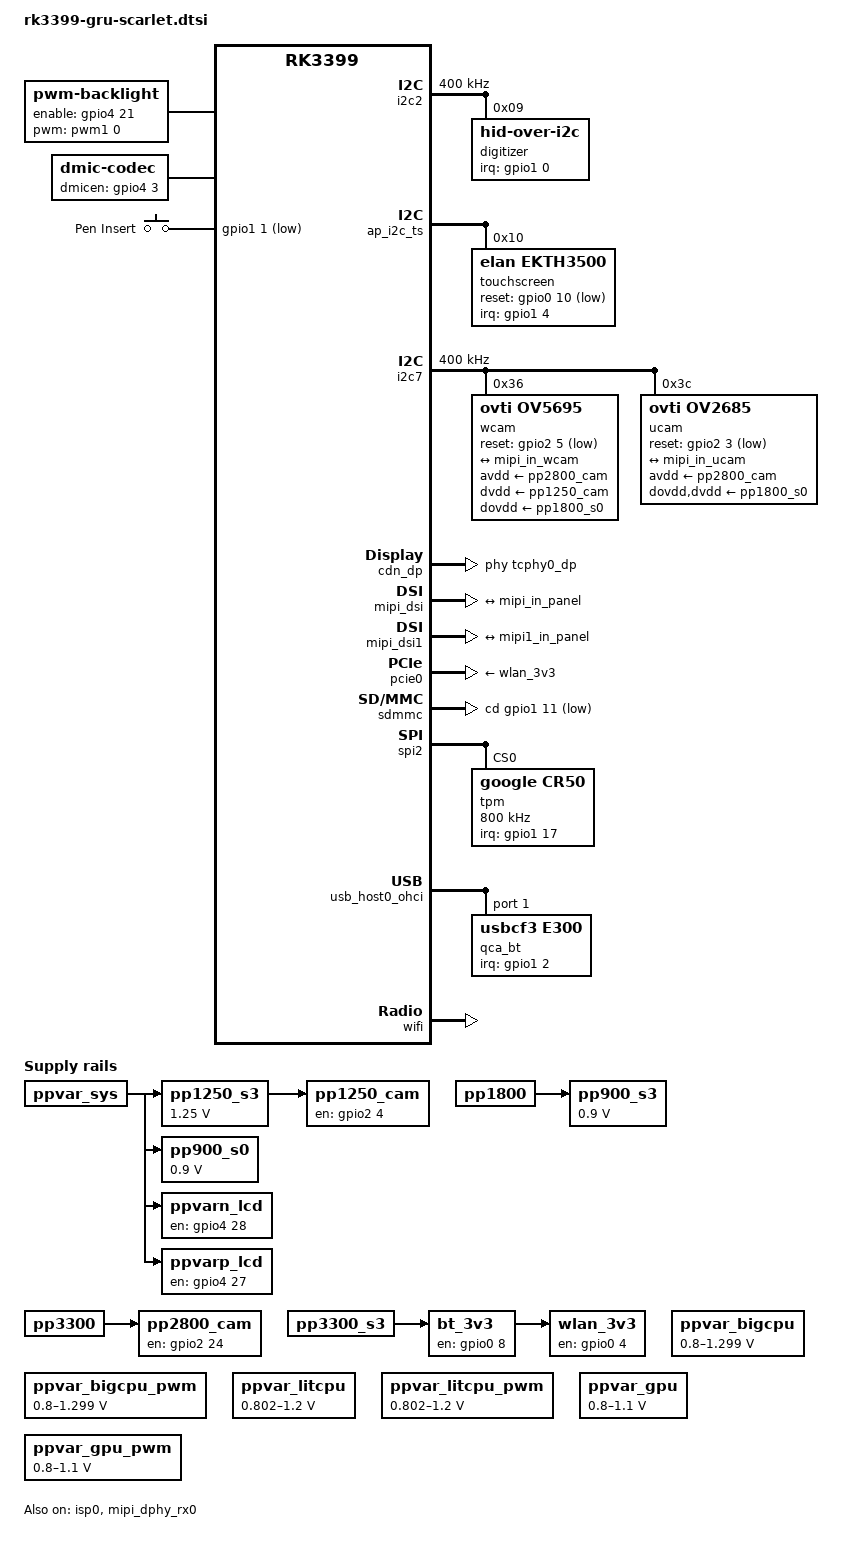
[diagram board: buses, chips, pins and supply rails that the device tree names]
// SPDX-License-Identifier: (GPL-2.0+ OR MIT)
/*
 * Google Gru-scarlet board device tree source
 *
 * Copyright 2018 Google, Inc
 */

#include "rk3399-gru.dtsi"

/{
	chassis-type = "tablet";

	/* Power tree */

	/* ppvar_sys children, sorted by name */
	pp1250_s3: pp1250-s3 {
		compatible = "regulator-fixed";
		regulator-name = "pp1250_s3";

		/* EC turns on w/ pp1250_s3_en; always on for AP */
		regulator-always-on;
		regulator-boot-on;
		regulator-min-microvolt = <1250000>;
		regulator-max-microvolt = <1250000>;

		vin-supply = <&ppvar_sys>;
	};

	pp1250_cam: pp1250-dvdd {
		compatible = "regulator-fixed";
		regulator-name = "pp1250_dvdd";
		pinctrl-names = "default";
		pinctrl-0 = <&pp1250_cam_en>;

		enable-active-high;
		gpio = <&gpio2 4 GPIO_ACTIVE_HIGH>;

		/* 740us delay from gpio output high to pp1250 stable,
		 * rounding up to 1ms for safety.
		 */
		startup-delay-us = <1000>;
		vin-supply = <&pp1250_s3>;
	};

	pp900_s0: pp900-s0 {
		compatible = "regulator-fixed";
		regulator-name = "pp900_s0";

		/* EC turns on w/ pp900_s0_en; always on for AP */
		regulator-always-on;
		regulator-boot-on;
		regulator-min-microvolt = <900000>;
		regulator-max-microvolt = <900000>;

		vin-supply = <&ppvar_sys>;
	};

	ppvarn_lcd: ppvarn-lcd {
		compatible = "regulator-fixed";
		regulator-name = "ppvarn_lcd";
		pinctrl-names = "default";
		pinctrl-0 = <&ppvarn_lcd_en>;

		enable-active-high;
		gpio = <&gpio4 28 GPIO_ACTIVE_HIGH>;
		vin-supply = <&ppvar_sys>;
	};

	ppvarp_lcd: ppvarp-lcd {
		compatible = "regulator-fixed";
		regulator-name = "ppvarp_lcd";
		pinctrl-names = "default";
		pinctrl-0 = <&ppvarp_lcd_en>;

		enable-active-high;
		gpio = <&gpio4 27 GPIO_ACTIVE_HIGH>;
		vin-supply = <&ppvar_sys>;
	};

	/* pp1800 children, sorted by name */
	pp900_s3: pp900-s3 {
		compatible = "regulator-fixed";
		regulator-name = "pp900_s3";

		/* EC turns on w/ pp900_s3_en; always on for AP */
		regulator-always-on;
		regulator-boot-on;
		regulator-min-microvolt = <900000>;
		regulator-max-microvolt = <900000>;

		vin-supply = <&pp1800>;
	};

	/* EC turns on pp1800_s3_en */
	pp1800_s3: pp1800 {
	};

	/* pp3300 children, sorted by name */
	pp2800_cam: pp2800-avdd {
		compatible = "regulator-fixed";
		regulator-name = "pp2800_avdd";
		pinctrl-names = "default";
		pinctrl-0 = <&pp2800_cam_en>;

		enable-active-high;
		gpio = <&gpio2 24 GPIO_ACTIVE_HIGH>;
		startup-delay-us = <100>;
		vin-supply = <&pp3300>;
	};

	/* EC turns on pp3300_s0_en */
	pp3300_s0: pp3300 {
	};

	/* EC turns on pp3300_s3_en */
	pp3300_s3: pp3300 {
	};

	/*
	 * See b/66922012
	 *
	 * This is a hack to make sure the Bluetooth part of the QCA6174A
	 * is reset at boot by toggling BT_EN. At boot BT_EN is first set
	 * to low when the bt_3v3 regulator is registered (in disabled
	 * state). The fake regulator is configured as a supply of the
	 * wlan_3v3 regulator below. When wlan_3v3 is enabled early in
	 * the boot process it also enables its supply regulator bt_3v3,
	 * which changes BT_EN to high.
	 */
	bt_3v3: bt-3v3 {
		compatible = "regulator-fixed";
		regulator-name = "bt_3v3";
		pinctrl-names = "default";
		pinctrl-0 = <&bt_en_1v8_l>;

		enable-active-high;
		gpio = <&gpio0 8 GPIO_ACTIVE_HIGH>;
		vin-supply = <&pp3300_s3>;
	};

	wlan_3v3: wlan-3v3 {
		compatible = "regulator-fixed";
		regulator-name = "wlan_3v3";
		pinctrl-names = "default";
		pinctrl-0 = <&wlan_pd_1v8_l>;

		/*
		 * The WL_EN pin is driven low when the regulator is
		 * registered, and transitions to high when the PCIe bus
		 * is powered up.
		 */
		enable-active-high;
		gpio = <&gpio0 4 GPIO_ACTIVE_HIGH>;

		/*
		 * Require minimum 10ms from power-on (e.g., PD#) to init PCIe.
		 * TODO (b/64444991): how long to assert PD#?
		 */
		regulator-enable-ramp-delay = <10000>;
		/* See bt_3v3 hack above */
		vin-supply = <&bt_3v3>;
	};

	backlight: backlight {
		compatible = "pwm-backlight";
		enable-gpios = <&gpio4 21 GPIO_ACTIVE_HIGH>;
		pinctrl-names = "default";
		pinctrl-0 = <&bl_en>;
		pwms = <&pwm1 0 1000000 0>;
	};

	dmic: dmic {
		compatible = "dmic-codec";
		dmicen-gpios = <&gpio4 3 GPIO_ACTIVE_HIGH>;
		pinctrl-names = "default";
		pinctrl-0 = <&dmic_en>;
		wakeup-delay-ms = <250>;
	};

	gpio_keys: gpio-keys {
		compatible = "gpio-keys";
		pinctrl-names = "default";
		pinctrl-0 = <&pen_eject_odl>;

		switch-pen-insert {
			label = "Pen Insert";
			/* Insert = low, eject = high */
			gpios = <&gpio1 1 GPIO_ACTIVE_LOW>;
			linux,code = <SW_PEN_INSERTED>;
			linux,input-type = <EV_SW>;
			wakeup-source;
		};
	};
};

/* pp900_s0 aliases */
pp900_ddrpll_ap: &pp900_s0 {
};
pp900_pcie: &pp900_s0 {
};
pp900_usb: &pp900_s0 {
};

/* pp900_s3 aliases */
pp900_emmcpll: &pp900_s3 {
};

/* EC turns on; alias for pp1800_s0 */
pp1800_pcie: &pp1800_s0 {
};

/* On scarlet PPVAR(big_cpu, lit_cpu, gpu) need to adjust voltage ranges */
&ppvar_bigcpu {
	ctrl-voltage-range = <800074 1299226>;
	regulator-min-microvolt = <800074>;
	regulator-max-microvolt = <1299226>;
};

&ppvar_bigcpu_pwm {
	/* On scarlet ppvar big cpu use pwm3 */
	pwms = <&pwm3 0 3337 0>;
	regulator-min-microvolt = <800074>;
	regulator-max-microvolt = <1299226>;
};

&ppvar_litcpu {
	ctrl-voltage-range = <802122 1199620>;
	regulator-min-microvolt = <802122>;
	regulator-max-microvolt = <1199620>;
};

&ppvar_litcpu_pwm {
	regulator-min-microvolt = <802122>;
	regulator-max-microvolt = <1199620>;
};

&ppvar_gpu {
	ctrl-voltage-range = <799600 1099600>;
	regulator-min-microvolt = <799600>;
	regulator-max-microvolt = <1099600>;
};

&ppvar_gpu_pwm {
	regulator-min-microvolt = <799600>;
	regulator-max-microvolt = <1099600>;
};

&ppvar_sd_card_io {
	states = <1800000 0x0>, <3300000 0x1>;
	regulator-max-microvolt = <3300000>;
};

&pp3000_sd_slot {
	vin-supply = <&pp3300>;
};

ap_i2c_dig: &i2c2 {
	status = "okay";

	clock-frequency = <400000>;

	/* These are relatively safe rise/fall times. */
	i2c-scl-falling-time-ns = <50>;
	i2c-scl-rising-time-ns = <300>;

	digitizer: digitizer@9 {
		compatible = "hid-over-i2c";
		reg = <0x9>;
		interrupt-parent = <&gpio1>;
		interrupts = <0 IRQ_TYPE_LEVEL_LOW>;
		hid-descr-addr = <0x1>;
		pinctrl-names = "default";
		pinctrl-0 = <&pen_int_odl &pen_reset_l>;
	};
};

&ap_i2c_ts {
	touchscreen: touchscreen@10 {
		compatible = "elan,ekth3500";
		reg = <0x10>;
		interrupt-parent = <&gpio1>;
		interrupts = <4 IRQ_TYPE_LEVEL_LOW>;
		pinctrl-names = "default";
		pinctrl-0 = <&touch_int_l &touch_reset_l>;
		reset-gpios = <&gpio0 10 GPIO_ACTIVE_LOW>;
	};
};

camera: &i2c7 {
	status = "okay";

	clock-frequency = <400000>;

	/* These are relatively safe rise/fall times; TODO: measure */
	i2c-scl-falling-time-ns = <50>;
	i2c-scl-rising-time-ns = <300>;

	/* 24M mclk is shared between world and user cameras */
	pinctrl-0 = <&i2c7_xfer &test_clkout1>;

	/* Rear-facing camera */
	wcam: camera@36 {
		compatible = "ovti,ov5695";
		reg = <0x36>;
		pinctrl-names = "default";
		pinctrl-0 = <&wcam_rst>;

		clocks = <&cru SCLK_TESTCLKOUT1>;
		clock-names = "xvclk";

		avdd-supply = <&pp2800_cam>;
		dvdd-supply = <&pp1250_cam>;
		dovdd-supply = <&pp1800_s0>;
		reset-gpios = <&gpio2 5 GPIO_ACTIVE_LOW>;

		port {
			wcam_out: endpoint {
				remote-endpoint = <&mipi_in_wcam>;
				data-lanes = <1 2>;
			};
		};
	};

	/* Front-facing camera */
	ucam: camera@3c {
		compatible = "ovti,ov2685";
		reg = <0x3c>;
		pinctrl-names = "default";
		pinctrl-0 = <&ucam_rst>;

		clocks = <&cru SCLK_TESTCLKOUT1>;
		clock-names = "xvclk";

		avdd-supply = <&pp2800_cam>;
		dovdd-supply = <&pp1800_s0>;
		dvdd-supply = <&pp1800_s0>;
		reset-gpios = <&gpio2 3 GPIO_ACTIVE_LOW>;

		port {
			ucam_out: endpoint {
				remote-endpoint = <&mipi_in_ucam>;
				data-lanes = <1>;
			};
		};
	};
};

&cdn_dp {
	extcon = <&usbc_extcon0>;
	phys = <&tcphy0_dp>;
};

&cpu_alert0 {
	temperature = <66000>;
};

&cpu_alert1 {
	temperature = <71000>;
};

&cros_ec {
	interrupt-parent = <&gpio1>;
	interrupts = <18 IRQ_TYPE_LEVEL_LOW>;
};

&cru {
	assigned-clocks =
		<&cru PLL_GPLL>, <&cru PLL_CPLL>,
		<&cru PLL_NPLL>,
		<&cru ACLK_PERIHP>, <&cru HCLK_PERIHP>,
		<&cru PCLK_PERIHP>,
		<&cru ACLK_PERILP0>, <&cru HCLK_PERILP0>,
		<&cru PCLK_PERILP0>, <&cru ACLK_CCI>,
		<&cru HCLK_PERILP1>, <&cru PCLK_PERILP1>,
		<&cru ACLK_VIO>,
		<&cru ACLK_GIC_PRE>,
		<&cru PCLK_DDR>,
		<&cru ACLK_HDCP>,
		<&cru ACLK_VDU>;
	assigned-clock-rates =
		<600000000>, <1600000000>,
		<1000000000>,
		<150000000>, <75000000>,
		<37500000>,
		<100000000>, <100000000>,
		<50000000>, <800000000>,
		<100000000>, <50000000>,
		<400000000>,
		<200000000>,
		<200000000>,
		<400000000>,
		<400000000>;
};

/* The center supply is fixed to .9V on scarlet */
&dmc {
	center-supply = <&pp900_s0>;
};

/* We don't need .925 V for 928 MHz on scarlet */
&dmc_opp_table {
	opp03 {
		opp-microvolt = <900000>;
	};
};

&gpio0 {
	gpio-line-names = /* GPIO0 A 0-7 */
			  "CLK_32K_AP",
			  "EC_IN_RW_OD",
			  "SPK_PA_EN",
			  "WLAN_PERST_1V8_L",
			  "WLAN_PD_1V8_L",
			  "WLAN_RF_KILL_1V8_L",
			  "BIGCPU_DVS_PWM",
			  "SD_CD_L_JTAG_EN",

			  /* GPIO0 B 0-5 */
			  "BT_EN_BT_RF_KILL_1V8_L",
			  "PMUIO2_33_18_L_PP3300_S0_EN",
			  "TOUCH_RESET_L",
			  "AP_EC_WARM_RESET_REQ",
			  "PEN_RESET_L",
			  /*
			   * AP_FLASH_WP_L is crossystem ABI. Schematics call
			   * it AP_FLASH_WP_R_ODL.
			   */
			  "AP_FLASH_WP_L";
};

&gpio1 {
	gpio-line-names = /* GPIO1 A 0-7 */
			  "PEN_INT_ODL",
			  "PEN_EJECT_ODL",
			  "BT_HOST_WAKE_1V8_L",
			  "WLAN_HOST_WAKE_1V8_L",
			  "TOUCH_INT_ODL",
			  "AP_EC_S3_S0_L",
			  "AP_EC_OVERTEMP",
			  "AP_SPI_FLASH_MISO",

			  /* GPIO1 B 0-7 */
			  "AP_SPI_FLASH_MOSI_R",
			  "AP_SPI_FLASH_CLK_R",
			  "AP_SPI_FLASH_CS_L_R",
			  "SD_CARD_DET_ODL",
			  "",
			  "AP_EXPANSION_IO1",
			  "AP_EXPANSION_IO2",
			  "AP_I2C_DISP_SDA",

			  /* GPIO1 C 0-7 */
			  "AP_I2C_DISP_SCL",
			  "H1_INT_ODL",
			  "EC_AP_INT_ODL",
			  "LITCPU_DVS_PWM",
			  "AP_I2C_AUDIO_SDA",
			  "AP_I2C_AUDIO_SCL",
			  "AP_EXPANSION_IO3",
			  "HEADSET_INT_ODL",

			  /* GPIO1 D0 */
			  "AP_EXPANSION_IO4";
};

&gpio2 {
	gpio-line-names = /* GPIO2 A 0-7 */
			  "AP_I2C_PEN_SDA",
			  "AP_I2C_PEN_SCL",
			  "SD_IO_PWR_EN",
			  "UCAM_RST_L",
			  "PP1250_CAM_EN",
			  "WCAM_RST_L",
			  "AP_EXPANSION_IO5",
			  "AP_I2C_CAM_SDA",

			  /* GPIO2 B 0-7 */
			  "AP_I2C_CAM_SCL",
			  "AP_H1_SPI_MISO",
			  "AP_H1_SPI_MOSI",
			  "AP_H1_SPI_CLK",
			  "AP_H1_SPI_CS_L",
			  "",
			  "",
			  "",

			  /* GPIO2 C 0-7 */
			  "UART_EXPANSION_TX_AP_RX",
			  "UART_AP_TX_EXPANSION_RX",
			  "UART_EXPANSION_RTS_AP_CTS",
			  "UART_AP_RTS_EXPANSION_CTS",
			  "AP_SPI_EC_MISO",
			  "AP_SPI_EC_MOSI",
			  "AP_SPI_EC_CLK",
			  "AP_SPI_EC_CS_L",

			  /* GPIO2 D 0-4 */
			  "PP2800_CAM_EN",
			  "CLK_24M_CAM",
			  "WLAN_PCIE_CLKREQ_1V8_L",
			  "",
			  "SD_PWR_3000_1800_L";
};

&gpio3 {
	gpio-line-names = /* GPIO3 A 0-7 */
			  "",
			  "",
			  "",
			  "",
			  "",
			  "",
			  "",
			  "",

			  /* GPIO3 B 0-7 */
			  "",
			  "",
			  "",
			  "",
			  "",
			  "",
			  "",
			  "",

			  /* GPIO3 C 0-7 */
			  "",
			  "",
			  "",
			  "",
			  "",
			  "",
			  "",
			  "",

			  /* GPIO3 D 0-7 */
			  "I2S0_SCLK",
			  "I2S0_LRCK_RX",
			  "I2S0_LRCK_TX",
			  "I2S0_SDI_0",
			  "STRAP_LCDBIAS_L",
			  "STRAP_FEATURE_1",
			  "STRAP_FEATURE_2",
			  "I2S0_SDO_0";
};

&gpio4 {
	gpio-line-names = /* GPIO4 A 0-7 */
			  "I2S_MCLK",
			  "AP_I2C_EXPANSION_SDA",
			  "AP_I2C_EXPANSION_SCL",
			  "DMIC_EN",
			  "",
			  "",
			  "",
			  "",

			  /* GPIO4 B 0-7 */
			  "",
			  "",
			  "",
			  "",
			  "",
			  "",
			  "",
			  "",

			  /* GPIO4 C 0-7 */
			  "AP_I2C_TS_SDA",
			  "AP_I2C_TS_SCL",
			  "GPU_DVS_PWM",
			  "UART_DBG_TX_AP_RX",
			  "UART_AP_TX_DBG_RX",
			  "BL_EN",
			  "BL_PWM",
			  "",

			  /* GPIO4 D 0-5 */
			  "",
			  "DISPLAY_RST_L",
			  "",
			  "PPVARP_LCD_EN",
			  "PPVARN_LCD_EN",
			  "SD_SLOT_PWR_EN";
};

&i2c_tunnel {
	google,remote-bus = <0>;
};

&io_domains {
	bt656-supply = <&pp1800_s0>;		/* APIO2_VDD;  2a 2b */
	audio-supply = <&pp1800_s0>;		/* APIO5_VDD;  3d 4a */
	gpio1830-supply = <&pp1800_s0>;		/* APIO4_VDD;  4c 4d */
};

&isp0 {
	status = "okay";

	ports {
		port@0 {
			mipi_in_wcam: endpoint@0 {
				reg = <0>;
				remote-endpoint = <&wcam_out>;
				data-lanes = <1 2>;
			};

			mipi_in_ucam: endpoint@1 {
				reg = <1>;
				remote-endpoint = <&ucam_out>;
				data-lanes = <1>;
			};
		};
	};
};

&isp0_mmu {
	status = "okay";
};

&max98357a {
	sdmode-gpios = <&gpio0 2 GPIO_ACTIVE_HIGH>;
};

&mipi_dphy_rx0 {
	status = "okay";
};

&mipi_dsi {
	status = "okay";
	clock-master;

	ports {
		mipi_out: port@1 {
			reg = <1>;

			mipi_out_panel: endpoint {
				remote-endpoint = <&mipi_in_panel>;
			};
		};
	};

	mipi_panel: panel@0 {
		/* 2 different panels are used, compatibles are in dts files */
		reg = <0>;
		backlight = <&backlight>;
		enable-gpios = <&gpio4 25 GPIO_ACTIVE_HIGH>;
		pinctrl-names = "default";
		pinctrl-0 = <&display_rst_l>;

		ports {
			#address-cells = <1>;
			#size-cells = <0>;

			port@0 {
				reg = <0>;

				mipi_in_panel: endpoint {
					remote-endpoint = <&mipi_out_panel>;
				};
			};

			port@1 {
				reg = <1>;

				mipi1_in_panel: endpoint@1 {
					remote-endpoint = <&mipi1_out_panel>;
				};
			};
		};
	};
};

&mipi_dsi1 {
	status = "okay";

	ports {
		mipi1_out: port@1 {
			reg = <1>;

			mipi1_out_panel: endpoint {
				remote-endpoint = <&mipi1_in_panel>;
			};
		};
	};
};

&pcie0 {
	ep-gpios = <&gpio0 3 GPIO_ACTIVE_HIGH>;

	/* PERST# asserted in S3 */
	pcie-reset-suspend = <1>;

	vpcie3v3-supply = <&wlan_3v3>;
	vpcie1v8-supply = <&pp1800_pcie>;
};

&sdmmc {
	cd-gpios = <&gpio1 11 GPIO_ACTIVE_LOW>;
};

&sound {
	rockchip,codec = <&max98357a &dmic &codec &cdn_dp>;
};

&spi2 {
	status = "okay";

	tpm@0 {
		compatible = "google,cr50";
		reg = <0>;
		interrupt-parent = <&gpio1>;
		interrupts = <17 IRQ_TYPE_EDGE_RISING>;
		pinctrl-names = "default";
		pinctrl-0 = <&h1_int_od_l>;
		spi-max-frequency = <800000>;
	};
};

&usb_host0_ohci {
	#address-cells = <1>;
	#size-cells = <0>;

	qca_bt: bluetooth@1 {
		compatible = "usbcf3,e300", "usb4ca,301a";
		reg = <1>;
		pinctrl-names = "default";
		pinctrl-0 = <&bt_host_wake_l>;
		interrupt-parent = <&gpio1>;
		interrupts = <2 IRQ_TYPE_LEVEL_HIGH>;
		interrupt-names = "wakeup";
	};
};

/* PINCTRL OVERRIDES */
&ap_fw_wp {
	rockchip,pins = <0 RK_PB5 RK_FUNC_GPIO &pcfg_pull_none>;
};

&bl_en {
	rockchip,pins = <4 RK_PC5 RK_FUNC_GPIO &pcfg_pull_none>;
};

&bt_host_wake_l {
	rockchip,pins = <1 RK_PA2 RK_FUNC_GPIO &pcfg_pull_none>;
};

&ec_ap_int_l {
	rockchip,pins = <1 RK_PC2 RK_FUNC_GPIO &pcfg_pull_up>;
};

&headset_int_l {
	rockchip,pins = <1 RK_PC7 RK_FUNC_GPIO &pcfg_pull_up>;
};

&i2s0_8ch_bus {
	rockchip,pins =
		<3 RK_PD0 1 &pcfg_pull_none_6ma>,
		<3 RK_PD1 1 &pcfg_pull_none_6ma>,
		<3 RK_PD2 1 &pcfg_pull_none_6ma>,
		<3 RK_PD3 1 &pcfg_pull_none_6ma>,
		<3 RK_PD7 1 &pcfg_pull_none_6ma>,
		<4 RK_PA0 1 &pcfg_pull_none_6ma>;
};

&i2s0_8ch_bus_bclk_off {
	rockchip,pins =
		<3 RK_PD0 RK_FUNC_GPIO &pcfg_pull_none_6ma>,
		<3 RK_PD1 1 &pcfg_pull_none_6ma>,
		<3 RK_PD2 1 &pcfg_pull_none_6ma>,
		<3 RK_PD3 1 &pcfg_pull_none_6ma>,
		<3 RK_PD7 1 &pcfg_pull_none_6ma>,
		<4 RK_PA0 1 &pcfg_pull_none_6ma>;
};

/* there is no external pull up, so need to set this pin pull up */
&sdmmc_cd_pin {
	rockchip,pins = <1 RK_PB3 RK_FUNC_GPIO &pcfg_pull_up>;
};

&sd_pwr_1800_sel {
	rockchip,pins = <2 RK_PD4 RK_FUNC_GPIO &pcfg_pull_up>;
};

&sdmode_en {
	rockchip,pins = <0 RK_PA2 RK_FUNC_GPIO &pcfg_pull_down>;
};

&touch_reset_l {
	rockchip,pins = <0 RK_PB2 RK_FUNC_GPIO &pcfg_pull_down>;
};

&touch_int_l {
	rockchip,pins = <1 RK_PA4 RK_FUNC_GPIO &pcfg_pull_down>;
};

&pinctrl {
	pinctrl-0 = <
		&ap_pwroff	/* AP will auto-assert this when in S3 */
		&clk_32k	/* This pin is always 32k on gru boards */
		&wlan_rf_kill_1v8_l
	>;

	pcfg_pull_none_6ma: pcfg-pull-none-6ma {
		bias-disable;
		drive-strength = <6>;
	};

	camera {
		pp1250_cam_en: pp1250-dvdd {
			rockchip,pins = <2 RK_PA4 RK_FUNC_GPIO &pcfg_pull_none>;
		};

		pp2800_cam_en: pp2800-avdd {
			rockchip,pins = <2 RK_PD0 RK_FUNC_GPIO &pcfg_pull_none>;
		};

		ucam_rst: ucam_rst {
			rockchip,pins = <2 RK_PA3 RK_FUNC_GPIO &pcfg_pull_none>;
		};

		wcam_rst: wcam_rst {
			rockchip,pins = <2 RK_PA5 RK_FUNC_GPIO &pcfg_pull_none>;
		};
	};

	digitizer {
		pen_int_odl: pen-int-odl {
			rockchip,pins = <1 RK_PA0 RK_FUNC_GPIO &pcfg_pull_up>;
		};

		pen_reset_l: pen-reset-l {
			rockchip,pins = <0 RK_PB4 RK_FUNC_GPIO &pcfg_pull_none>;
		};
	};

	discrete-regulators {
		display_rst_l: display-rst-l {
			rockchip,pins = <4 RK_PD1 RK_FUNC_GPIO &pcfg_pull_down>;
		};

		ppvarp_lcd_en: ppvarp-lcd-en {
			rockchip,pins = <4 RK_PD3 RK_FUNC_GPIO &pcfg_pull_none>;
		};

		ppvarn_lcd_en: ppvarn-lcd-en {
			rockchip,pins = <4 RK_PD4 RK_FUNC_GPIO &pcfg_pull_none>;
		};
	};

	dmic {
		dmic_en: dmic-en {
			rockchip,pins = <4 RK_PA3 RK_FUNC_GPIO &pcfg_pull_none>;
		};
	};

	pen {
		pen_eject_odl: pen-eject-odl {
			rockchip,pins = <1 RK_PA1 RK_FUNC_GPIO &pcfg_pull_up>;
		};
	};

	tpm {
		h1_int_od_l: h1-int-od-l {
			rockchip,pins = <1 RK_PC1 RK_FUNC_GPIO &pcfg_pull_up>;
		};
	};
};

&wifi {
	bt_en_1v8_l: bt-en-1v8-l {
		rockchip,pins = <0 RK_PB0 RK_FUNC_GPIO &pcfg_pull_none>;
	};

	wlan_pd_1v8_l: wlan-pd-1v8-l {
		rockchip,pins = <0 RK_PA4 RK_FUNC_GPIO &pcfg_pull_none>;
	};

	/* Default pull-up, but just to be clear */
	wlan_rf_kill_1v8_l: wlan-rf-kill-1v8-l {
		rockchip,pins = <0 RK_PA5 RK_FUNC_GPIO &pcfg_pull_up>;
	};

	wifi_perst_l: wifi-perst-l {
		rockchip,pins = <0 RK_PA3 RK_FUNC_GPIO &pcfg_pull_none>;
	};

	wlan_host_wake_l: wlan-host-wake-l {
		rockchip,pins = <1 RK_PA3 RK_FUNC_GPIO &pcfg_pull_up>;
	};
};
